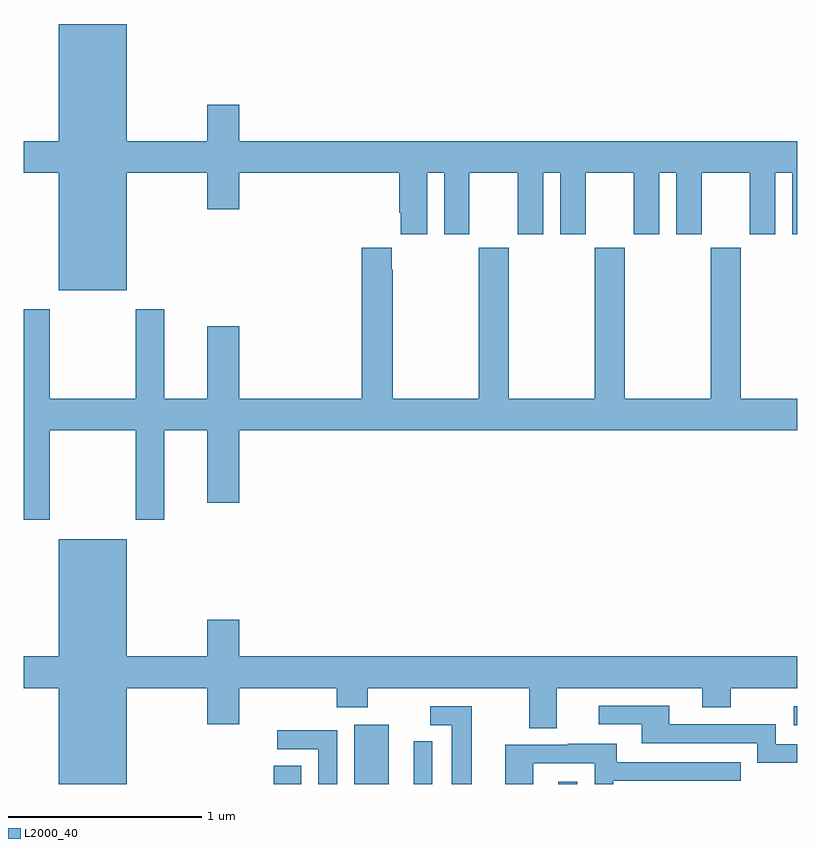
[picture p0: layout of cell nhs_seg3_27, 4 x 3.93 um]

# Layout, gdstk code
import gdstk
lib = gdstk.Library(unit=1e-6, precision=1e-09)
def R(c, l, rs):  # rectangles x0, y0, x1, y1
    for r in rs: c.add(gdstk.rectangle(r[:2], r[2:], *l))
def P(c, l, *ps):  # polygons
    for p in ps: c.add(gdstk.Polygon(p, *l))
L2000_40 = (2000, 40)

nhs_seg3_27 = lib.new_cell('nhs_seg3_27')
R(nhs_seg3_27, L2000_40, [(112.292,720.4,112.435,720.494), (112.709,720.4,112.888,720.706), (113.765,720.4,113.862,720.412), (114.981,720.705,115,720.801)])
P(nhs_seg3_27, L2000_40, [(111.532,723.56),(111.95,723.56),(111.95,723.372),(112.114,723.372),(112.114,723.56),(112.943,723.56),(112.943,723.355),(112.949,723.355),(112.949,723.243),(113.086,723.243),(113.086,723.56),(113.174,723.56),(113.174,723.243),(113.305,723.243),(113.305,723.56),(113.555,723.56),(113.555,723.243),(113.686,723.243),(113.686,723.56),(113.774,723.56),(113.774,723.243),(113.905,723.243),(113.905,723.56),(114.155,723.56),(114.155,723.243),(114.286,723.243),(114.286,723.56),(114.374,723.56),(114.374,723.243),(114.505,723.243),(114.505,723.56),(114.755,723.56),(114.755,723.243),(114.886,723.243),(114.886,723.56),(114.974,723.56),(114.974,723.243),(115,723.243),(115,723.724),(112.114,723.724),(112.114,723.913),(111.95,723.913),(111.95,723.724),(111.532,723.724),(111.532,724.33),(111.182,724.33),(111.182,723.724),(111,723.724),(111,723.56),(111.182,723.56),(111.182,722.954),(111.532,722.954)],
  [(111.135,722.228),(111.58,722.228),(111.58,721.767),(111.727,721.767),(111.727,722.228),(111.95,722.228),(111.95,721.854),(112.114,721.854),(112.114,722.228),(115,722.228),(115,722.392),(114.708,722.392),(114.708,723.172),(114.553,723.172),(114.553,722.392),(114.108,722.392),(114.108,723.172),(113.953,723.172),(113.953,722.392),(113.508,722.392),(113.508,723.172),(113.353,723.172),(113.353,722.392),(112.908,722.392),(112.908,723.059),(112.903,723.059),(112.903,723.172),(112.748,723.172),(112.748,722.392),(112.114,722.392),(112.114,722.767),(111.95,722.767),(111.95,722.392),(111.727,722.392),(111.727,722.854),(111.58,722.854),(111.58,722.392),(111.135,722.392),(111.135,722.854),(111,722.854),(111,721.767),(111.135,721.767)],
  [(111.532,720.896),(111.95,720.896),(111.95,720.708),(112.114,720.708),(112.114,720.896),(112.619,720.896),(112.619,720.797),(112.779,720.797),(112.779,720.896),(113.615,720.896),(113.615,720.688),(113.755,720.688),(113.755,720.896),(114.509,720.896),(114.509,720.797),(114.657,720.797),(114.657,720.896),(115,720.896),(115,721.06),(112.114,721.06),(112.114,721.249),(111.95,721.249),(111.95,721.06),(111.532,721.06),(111.532,721.666),(111.182,721.666),(111.182,721.06),(111,721.06),(111,720.896),(111.182,720.896),(111.182,720.4),(111.532,720.4)],
  [(115,720.606),(114.888,720.606),(114.888,720.708),(114.337,720.708),(114.337,720.804),(113.973,720.804),(113.973,720.708),(114.197,720.708),(114.197,720.612),(114.792,720.612),(114.792,720.509),(115,720.509)],
  [(113.317,720.801),(113.103,720.801),(113.103,720.705),(113.213,720.705),(113.213,720.4),(113.317,720.4)],
  [(112.62,720.678),(112.311,720.678),(112.311,720.579),(112.524,720.579),(112.524,720.4),(112.62,720.4)],
  [(113.112,720.62),(113.016,720.62),(113.016,720.466),(113.018,720.466),(113.018,720.4),(113.112,720.4)],
  [(113.634,720.507),(113.952,720.507),(113.952,720.4),(114.048,720.4),(114.048,720.417),(114.707,720.417),(114.707,720.513),(114.067,720.513),(114.067,720.607),(113.813,720.607),(113.813,720.603),(113.489,720.603),(113.489,720.4),(113.634,720.4)])

lib.write_gds('nhs_seg3_27.gds')
